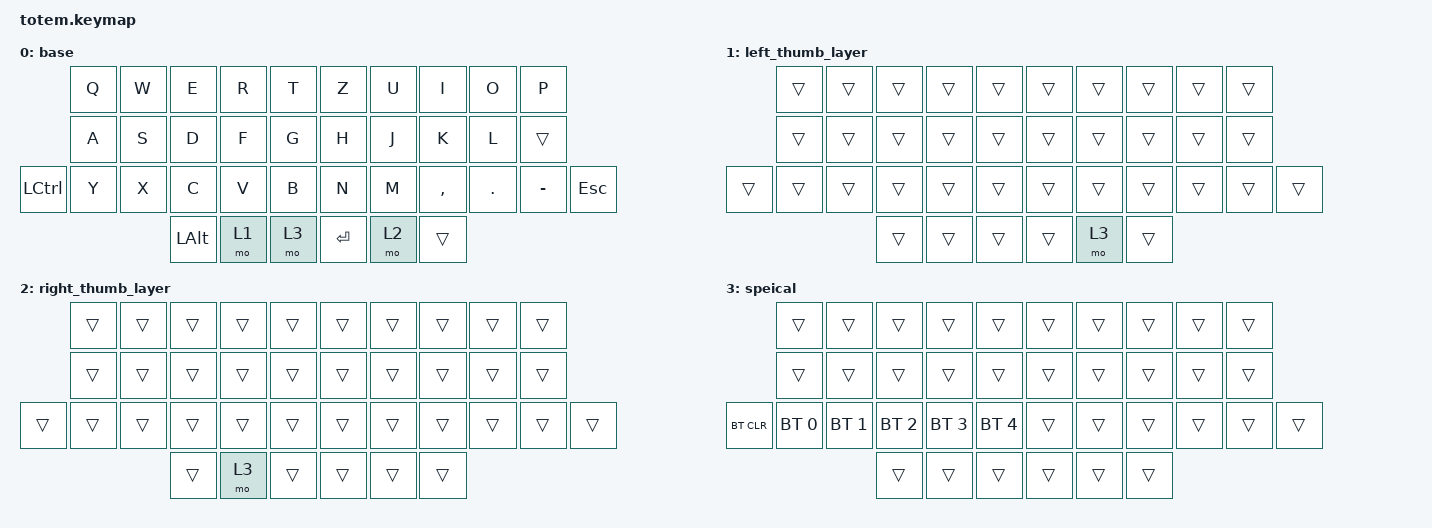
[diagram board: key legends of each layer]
//
//                                                        ▀▀▀▀▀     ▀▀▀▀▀          ▀▀█▀▀
//                                                        ▄▀▀▀▄  ▄  ▄▀▀▀▄  ▄  ▄▀▀▀▄  █  ▄▀▀▀▄
//                                                        █   █  █  █   █  █  █   █  █  █   █
//                                                         ▀▀▀   █   ▀▀▀   █   ▀▀▀   ▀   ▀▀▀
//                                                               █      ▄▄▄█▄▄▄    █   █  
//                                                               ▀      █  █  █     █▄█
//                                                             ▀▀▀▀▀    █  █  █      ▀
//                                                                      ▀  ▀  ▀
//
// ▄▄▄▄▄▄▄▄▄▄▄▄▄▄▄▄▄▄▄▄▄▄▄▄▄▄▄▄▄▄▄▄▄▄▄▄▄▄▄▄▄▄▄▄▄▄▄▄▄▄▄▄▄▄▄▄▄▄▄▄▄▄▄▄▄▄▄▄▄▄▄▄▄▄▄▄▄▄▄▄▄▄▄▄▄▄▄▄▄▄▄▄▄▄▄▄▄▄▄▄▄▄▄▄▄▄▄▄▄▄▄▄▄▄▄▄▄▄▄▄▄▄▄▄▄▄▄▄▄▄▄▄▄▄▄▄▄▄▄▄▄▄▄▄▄▄▄▄▄

#include <behaviors.dtsi>
#include <dt-bindings/zmk/bt.h>
#include <dt-bindings/zmk/keys.h>

#define BASE 0
#define NAV  1
#define SYM  2
#define ADJ  3
#define TVP1 4
#define TVP2 5

&mt {
    quick-tap-ms = <100>;
    global-quick-tap;
    flavor = "tap-preferred";
    tapping-term-ms = <170>;
};

/ {
    combos {
        compatible = "zmk,combos";

        combo_esc {
            timeout-ms = <50>;
            key-positions = <0 1>;
            bindings = <&kp ESC>;
        };

        combo_tvp {
            timeout-ms = <100>;
            key-positions = <11 12 13>;
            bindings = <&tog 0>;
        };
    };

    macros {
        gif: gif {
            label = "giphy";
            compatible = "zmk,behavior-macro";
            #binding-cells = <0>;
            bindings =
                <&macro_press>,
                <&kp LSHFT>,
                <&macro_tap>,
                <&kp N2>,
                <&macro_release>,
                <&kp LSHFT>,
                <&macro_tap>,
                <&kp G &kp I &kp F>;
        };
    };

    keymap {
        compatible = "zmk,keymap";

        // ▄▄▄▄▄▄▄▄▄▄▄▄▄▄▄▄▄▄▄▄▄▄▄▄▄▄▄▄▄▄▄▄▄▄▄▄▄▄▄▄▄▄▄▄▄▄▄▄▄▄▄▄▄▄▄▄▄▄▄▄▄▄▄▄▄▄▄▄▄▄▄▄▄▄▄▄▄▄▄▄▄▄▄▄▄▄▄▄▄▄▄▄▄▄▄▄▄▄▄▄▄▄▄▄▄▄▄▄▄▄▄▄▄▄▄▄▄▄▄▄▄▄▄▄▄▄▄▄▄▄▄▄▄▄▄▄▄▄▄▄▄▄▄▄▄▄▄▄▄
        // ▄▄▄▄▄▄▄▄▄▄▄▄▄▄▄▄▄▄▄▄▄▄▄▄▄▄▄▄▄▄▄▄▄▄▄▄▄▄▄▄▄▄▄▄▄▄▄▄▄▄▄▄▄▄▄▄▄▄▄▄▄▄▄▄▄▄▄▄▄▄▄▄▄▄▄▄▄▄▄▄▄▄▄▄▄▄▄▄▄▄▄▄▄▄▄▄▄▄▄▄▄▄▄▄▄▄▄▄▄▄▄▄▄▄▄▄▄▄▄▄▄▄▄▄▄▄▄▄▄▄▄▄▄▄▄▄▄▄▄▄▄▄▄▄▄▄▄▄▄
        // ▄▄▄▄▄▄▄▄▄▄▄▄▄▄▄▄▄▄▄▄▄▄▄▄▄▄▄▄▄▄▄▄▄▄▄▄▄▄▄▄▄▄▄▄▄▄▄▄▄▄▄▄▄▄▄▄▄▄▄▄▄▄▄▄▄▄▄▄▄▄▄▄▄▄▄▄▄▄▄▄▄▄▄▄▄▄▄▄▄▄▄▄▄▄▄▄▄▄▄▄▄▄▄▄▄▄▄▄▄▄▄▄▄▄▄▄▄▄▄▄▄▄▄▄▄▄▄▄▄▄▄▄▄▄▄▄▄▄▄▄▄▄▄▄▄▄▄▄▄
        // ▄▄▄▄▄▄▄▄▄▄▄▄▄▄▄▄▄▄▄▄▄▄▄▄▄▄▄▄▄▄▄▄▄▄▄▄▄▄▄▄▄▄▄▄▄▄▄▄▄▄▄▄▄▄▄▄▄▄▄▄▄▄▄▄▄▄▄▄▄▄▄▄▄▄▄▄▄▄▄▄▄▄▄▄▄▄▄▄▄▄▄▄▄▄▄▄▄▄▄▄▄▄▄▄▄▄▄▄▄▄▄▄▄▄▄▄▄▄▄▄▄▄▄▄▄▄▄▄▄▄▄▄▄▄▄▄▄▄▄▄▄▄▄▄▄▄▄▄▄
        // ▄▄▄▄▄▄▄▄▄▄▄▄▄▄▄▄▄▄▄▄▄▄▄▄▄▄▄▄▄▄▄▄▄▄▄▄▄▄▄▄▄▄▄▄▄▄▄▄▄▄▄▄▄▄▄▄▄▄▄▄▄▄▄▄▄▄▄▄▄▄▄▄▄▄▄▄▄▄▄▄▄▄▄▄▄▄▄▄▄▄▄▄▄▄▄▄▄▄▄▄▄▄▄▄▄▄▄▄▄▄▄▄▄▄▄▄▄▄▄▄▄▄▄▄▄▄▄▄▄▄▄▄▄▄▄▄▄▄▄▄▄▄▄▄▄▄▄▄▄
        // ▄▄▄▄▄▄▄▄▄▄▄▄▄▄▄▄▄▄▄▄▄▄▄▄▄▄▄▄▄▄▄▄▄▄▄▄▄▄▄▄▄▄▄▄▄▄▄▄▄▄▄▄▄▄▄▄▄▄▄▄▄▄▄▄▄▄▄▄▄▄▄▄▄▄▄▄▄▄▄▄▄▄▄▄▄▄▄▄▄▄▄▄▄▄▄▄▄▄▄▄▄▄▄▄▄▄▄▄▄▄▄▄▄▄▄▄▄▄▄▄▄▄▄▄▄▄▄▄▄▄▄▄▄▄▄▄▄▄▄▄▄▄▄▄▄▄▄▄▄

        base {
            bindings = <
           &kp Q  &kp W  &kp E         &kp R  &kp T    &kp Z      &kp U  &kp I      &kp O    &kp P
           &kp A  &kp S  &kp D         &kp F  &kp G    &kp H      &kp J  &kp K      &kp L    &trans
&kp LCTRL  &kp Y  &kp X  &kp C         &kp V  &kp B    &kp N      &kp M  &kp COMMA  &kp DOT  &kp MINUS  &kp ESC
                         &kp LEFT_ALT  &mo 1  &mo 3    &kp ENTER  &mo 2  &trans
            >;
        };

        left_thumb_layer {
            bindings = <
        &trans  &trans  &trans  &trans  &trans    &trans  &trans  &trans  &trans  &trans
        &trans  &trans  &trans  &trans  &trans    &trans  &trans  &trans  &trans  &trans
&trans  &trans  &trans  &trans  &trans  &trans    &trans  &trans  &trans  &trans  &trans  &trans
                        &trans  &trans  &trans    &trans  &mo 3   &trans
            >;
        };

        right_thumb_layer {
            bindings = <
        &trans  &trans  &trans  &trans  &trans    &trans  &trans  &trans  &trans  &trans
        &trans  &trans  &trans  &trans  &trans    &trans  &trans  &trans  &trans  &trans
&trans  &trans  &trans  &trans  &trans  &trans    &trans  &trans  &trans  &trans  &trans  &trans
                        &trans  &mo 3   &trans    &trans  &trans  &trans
            >;
        };

        speical {
            bindings = <
            &trans        &trans        &trans        &trans        &trans          &trans  &trans  &trans  &trans  &trans
            &trans        &trans        &trans        &trans        &trans          &trans  &trans  &trans  &trans  &trans
&bt BT_CLR  &bt BT_SEL 0  &bt BT_SEL 1  &bt BT_SEL 2  &bt BT_SEL 3  &bt BT_SEL 4    &trans  &trans  &trans  &trans  &trans  &trans
                                        &trans        &trans        &trans          &trans  &trans  &trans
            >;
        };
    };
};
